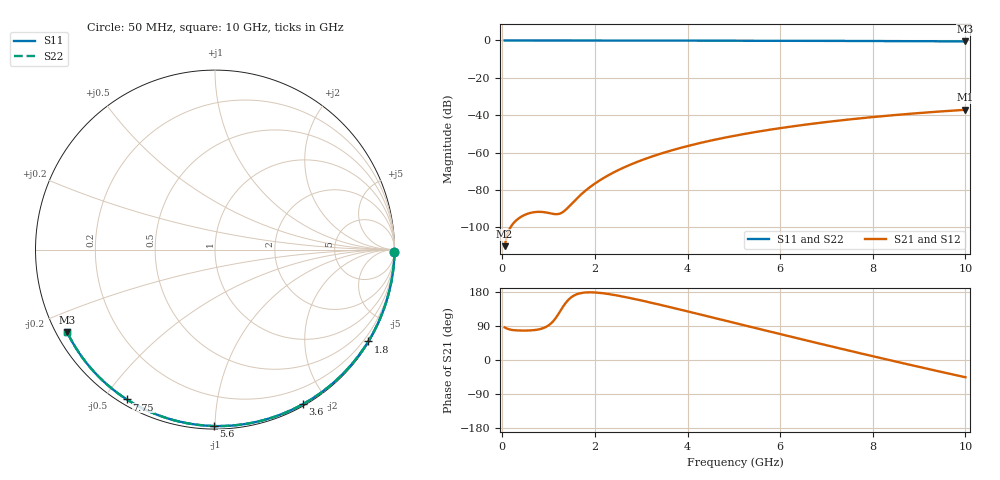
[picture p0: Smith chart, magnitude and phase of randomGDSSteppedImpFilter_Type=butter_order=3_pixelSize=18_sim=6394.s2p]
! freq	dB(S11)	phase(S11)	dB(S12)	phase(S12)
!  dB(S21)	phase(S21)	dB(S22)	phase(S22)
!S-par simulation data
#  GHz  S  DB  R 50
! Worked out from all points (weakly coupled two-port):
!   200 points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, 50 MHz to 10 GHz, reference 50 ohm
!   highest |S21| = -37.10 dB at 10 GHz (marker M1); lowest = -110.1 dB at 50 MHz (marker M2)
!   lowest |S11| = -0.5 dB at 10 GHz (marker M3), VSWR 34.45, Z = 1.55 - j13 ohm
!   |S11| at or under -10 dB: nowhere
!   |S22| runs from -0.5 to 0.0 dB; largest |S21 - S12| = 0
!   S11 on the Smith chart (normalised r, x): 50 MHz: open; 1.8 GHz: 0.03, -3.62; 3.6 GHz: 0.02, -1.72; 5.6 GHz: 0.02, -0.99; 7.75 GHz: 0.02, -0.57; 10 GHz: 0.03, -0.26
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0.05  -0.00 -0.9  -110.05 86.1  -110.05 86.1  -0.00 -0.9
0.45  -0.01 -7.9  -93.72 77.7  -93.72 77.7  -0.01 -7.9
0.9  -0.02 -15.6  -91.85 84.9  -91.85 84.9  -0.02 -15.6
1.3  -0.03 -22.5  -91.94 138.5  -91.94 138.5  -0.03 -22.5
1.75  -0.04 -30.1  -81.32 177.6  -81.32 177.6  -0.04 -30.1
1.8  -0.04 -30.9  -80.27 178.3  -80.27 178.3  -0.04 -30.9
2.15  -0.05 -36.8  -74.14 176.5  -74.14 176.5  -0.05 -36.8
2.3  -0.05 -39.3  -71.99 174.0  -71.99 174.0  -0.05 -39.3
2.5  -0.05 -42.6  -69.42 169.8  -69.42 169.8  -0.05 -42.6
2.9  -0.06 -49.1  -65.09 159.8  -65.09 159.8  -0.06 -49.1
3.4  -0.08 -57.1  -60.72 145.9  -60.72 145.9  -0.08 -57.1
3.6  -0.08 -60.3  -59.21 140.1  -59.21 140.1  -0.08 -60.3
4.3  -0.10 -71.1  -54.69 119.4  -54.69 119.4  -0.10 -71.1
5.05  -0.13 -82.4  -50.82 96.9  -50.82 96.9  -0.13 -82.4
5.6  -0.15 -90.5  -48.45 80.4  -48.45 80.4  -0.15 -90.5
6.15  -0.18 -98.3  -46.37 64.0  -46.37 64.0  -0.18 -98.3
6.7  -0.21 -106.0  -44.54 47.7  -44.54 47.7  -0.21 -106.0
7.2  -0.24 -112.9  -43.06 33.1  -43.06 33.1  -0.24 -112.9
7.75  -0.28 -120.4  -41.60 17.1  -41.60 17.1  -0.28 -120.4
8.35  -0.33 -128.5  -40.18 0.0  -40.18 0.0  -0.33 -128.5
9.2  -0.41 -139.9  -38.46 -23.7  -38.46 -23.7  -0.41 -140.0
10  -0.50 -150.8  -37.10 -45.5  -37.10 -45.5  -0.50 -150.8
